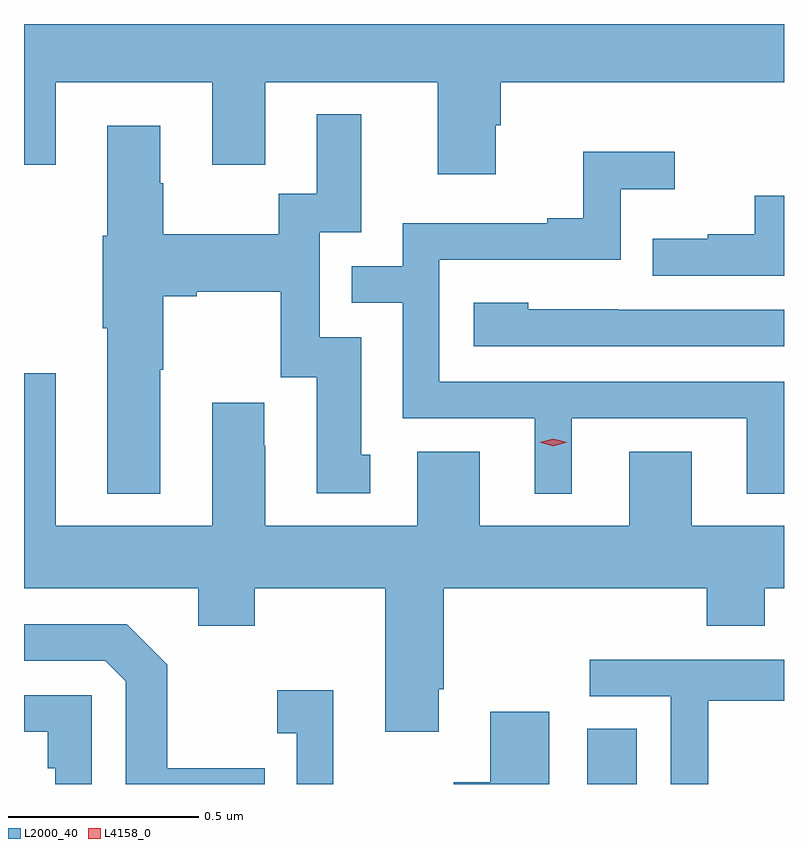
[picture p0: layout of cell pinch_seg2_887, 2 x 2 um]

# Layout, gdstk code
import gdstk
lib = gdstk.Library(unit=1e-6, precision=1e-09)
def R(c, l, rs):  # rectangles x0, y0, x1, y1
    for r in rs: c.add(gdstk.rectangle(r[:2], r[2:], *l))
def P(c, l, *ps):  # polygons
    for p in ps: c.add(gdstk.Polygon(p, *l))
L2000_40 = (2000, 40)
L4158_0 = (4158, 0)

pinch_seg2_887 = lib.new_cell('pinch_seg2_887')
R(pinch_seg2_887, L2000_40, [(603.812,596.505,603.943,596.651)])
P(pinch_seg2_887, L2000_40, [(603.571,598.239),(603.584,598.239),(603.584,598.352),(604.33,598.352),(604.33,598.505),(602.33,598.505),(602.33,598.134),(602.413,598.134),(602.413,598.352),(602.825,598.352),(602.825,598.134),(602.965,598.134),(602.965,598.352),(603.419,598.352),(603.419,598.11),(603.571,598.11)],
  [(602.689,597.595),(602.697,597.595),(602.697,597.788),(602.785,597.788),(602.785,597.8),(603.005,597.8),(603.005,597.576),(603.101,597.576),(603.101,597.27),(603.241,597.27),(603.241,597.372),(603.217,597.372),(603.217,597.681),(603.108,597.681),(603.108,597.957),(603.217,597.957),(603.217,598.267),(603.101,598.267),(603.101,598.058),(603,598.058),(603,597.952),(602.697,597.952),(602.697,598.086),(602.689,598.086),(602.689,598.237),(602.549,598.237),(602.549,597.948),(602.537,597.948),(602.537,597.704),(602.549,597.704),(602.549,597.269),(602.689,597.269)],
  [(603.772,597.468),(604.232,597.468),(604.232,597.269),(604.33,597.269),(604.33,597.564),(603.423,597.564),(603.423,597.885),(603.9,597.885),(603.9,598.07),(604.042,598.07),(604.042,598.169),(603.802,598.169),(603.802,597.994),(603.707,597.994),(603.707,597.981),(603.327,597.981),(603.327,597.867),(603.193,597.867),(603.193,597.771),(603.327,597.771),(603.327,597.468),(603.674,597.468),(603.674,597.269),(603.772,597.269)],
  [(604.33,598.053),(604.253,598.053),(604.253,597.952),(604.129,597.952),(604.129,597.94),(603.985,597.94),(603.985,597.843),(604.33,597.843)],
  [(604.33,597.753),(603.893,597.753),(603.893,597.754),(603.657,597.754),(603.657,597.772),(603.513,597.772),(603.513,597.657),(604.33,597.657)],
  [(602.413,597.586),(602.33,597.586),(602.33,597.02),(602.789,597.02),(602.789,596.921),(602.937,596.921),(602.937,597.02),(603.281,597.02),(603.281,596.643),(603.421,596.643),(603.421,596.755),(603.434,596.755),(603.434,597.02),(604.127,597.02),(604.127,596.921),(604.279,596.921),(604.279,597.02),(604.33,597.02),(604.33,597.184),(604.087,597.184),(604.087,597.379),(603.923,597.379),(603.923,597.184),(603.529,597.184),(603.529,597.379),(603.365,597.379),(603.365,597.184),(602.965,597.184),(602.965,597.395),(602.962,597.395),(602.962,597.508),(602.825,597.508),(602.825,597.184),(602.413,597.184)],
  [(602.963,596.547),(602.707,596.547),(602.707,596.819),(602.601,596.925),(602.33,596.925),(602.33,596.829),(602.544,596.829),(602.598,596.775),(602.598,596.505),(602.963,596.505)],
  [(604.131,596.724),(604.33,596.724),(604.33,596.832),(603.819,596.832),(603.819,596.736),(604.032,596.736),(604.032,596.505),(604.131,596.505)],
  [(603.144,596.752),(602.997,596.752),(602.997,596.639),(603.048,596.639),(603.048,596.505),(603.144,596.505)],
  [(602.508,596.739),(602.33,596.739),(602.33,596.643),(602.392,596.643),(602.392,596.546),(602.412,596.546),(602.412,596.505),(602.508,596.505)],
  [(603.712,596.695),(603.557,596.695),(603.557,596.51),(603.461,596.51),(603.461,596.505),(603.712,596.505)])
P(pinch_seg2_887, L4158_0, [(603.723,597.394),(603.687,597.404),(603.687,597.404),(603.687,597.404),(603.723,597.414),(603.759,597.404),(603.759,597.404),(603.759,597.404)])

lib.write_gds('pinch_seg2_887.gds')
